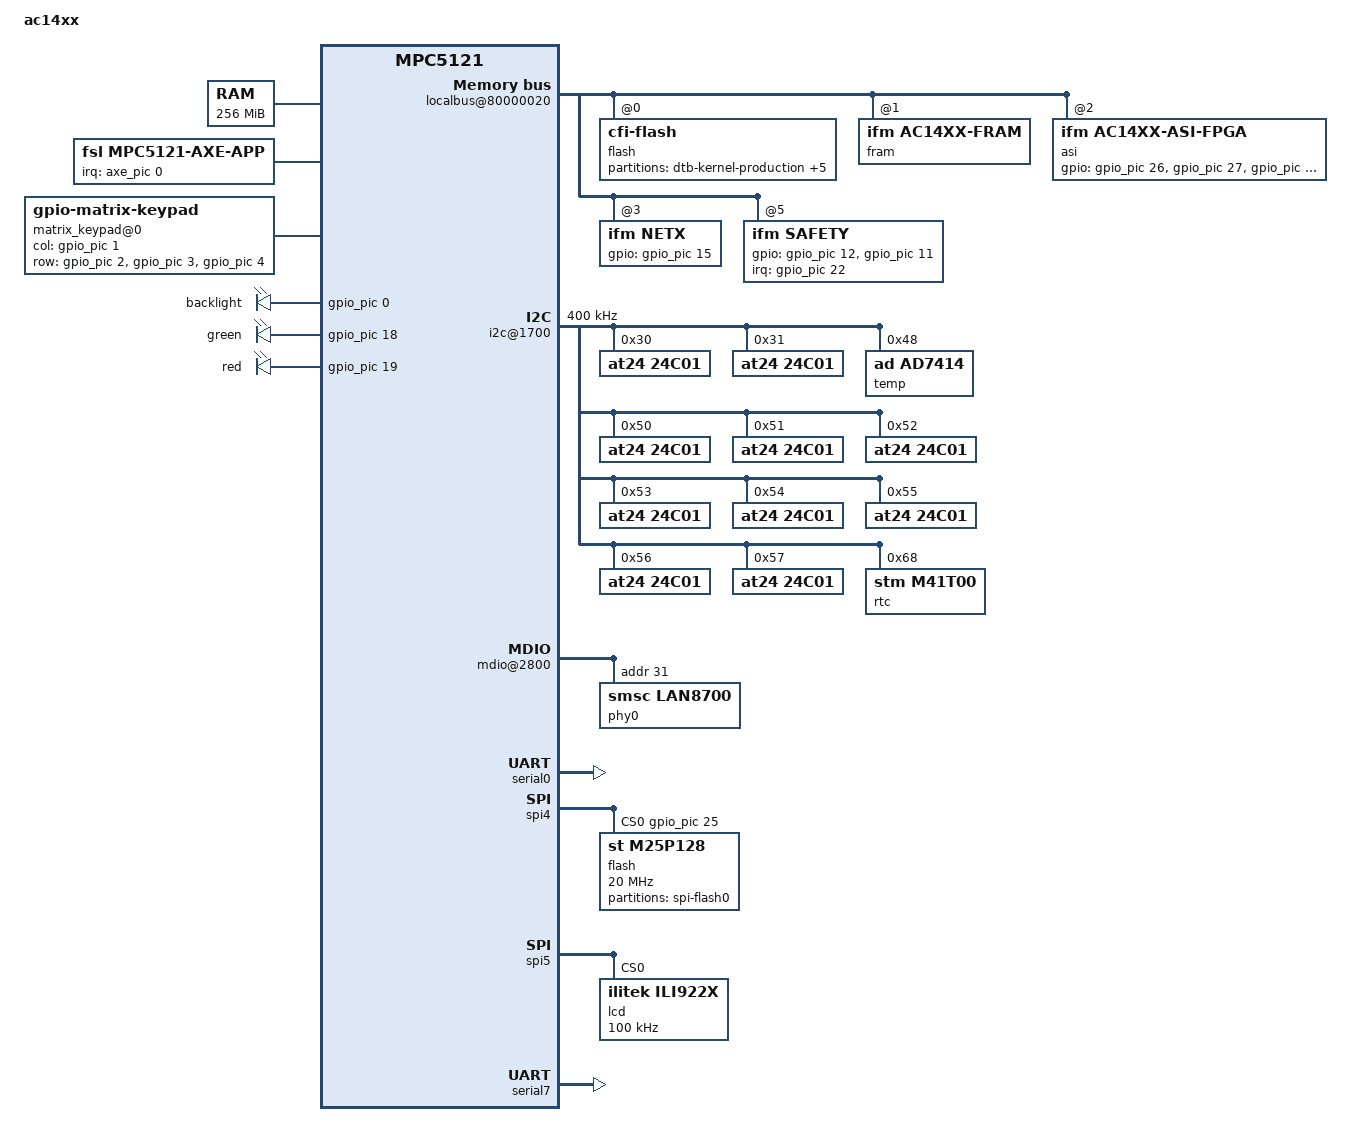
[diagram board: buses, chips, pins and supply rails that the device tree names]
/*
 * Device Tree Source for the MPC5121e based ac14xx board
 *
 * Copyright 2012 Anatolij Gustschin <agust@denx.de>
 *
 * This program is free software; you can redistribute  it and/or modify it
 * under  the terms of  the GNU General  Public License as published by the
 * Free Software Foundation;  either version 2 of the  License, or (at your
 * option) any later version.
 */


#include <mpc5121.dtsi>

/ {
	model = "ac14xx";
	compatible = "ifm,ac14xx", "fsl,mpc5121";
	#address-cells = <1>;
	#size-cells = <1>;

	aliases {
		serial0 = &serial0;
		serial1 = &serial7;
		spi4 = &spi4;
		spi5 = &spi5;
	};

	cpus {
		PowerPC,5121@0 {
			timebase-frequency = <40000000>;	/*  40 MHz (csb/4) */
			bus-frequency = <160000000>;		/* 160 MHz csb bus */
			clock-frequency = <400000000>;		/* 400 MHz ppc core */
		};
	};

	memory {
		reg = <0x00000000 0x10000000>;			/* 256MB at 0 */
	};

	nfc@40000000 {
		status = "disabled";
	};

	localbus@80000020 {
		ranges = <0x0 0x0 0xfc000000 0x04000000	/* CS0: NOR flash */
			  0x1 0x0 0xe0000000 0x00010000 /* CS1: FRAM */
			  0x2 0x0 0xe0100000 0x00080000 /* CS2: asi1 */
			  0x3 0x0 0xe0300000 0x00020000 /* CS3: comm */
			  0x5 0x0 0xe0400000 0x00010000 /* CS5: safety */
			  0x6 0x0 0xe0200000 0x00080000>; /* CS6: asi2 */

		flash@0,0 {
			compatible = "cfi-flash";
			reg = <0 0x00000000 0x04000000>;
			#address-cells = <1>;
			#size-cells = <1>;
			bank-width = <2>;
			device-width = <2>;

			partition@0 {
				label = "dtb-kernel-production";
				reg = <0x00000000 0x00400000>;
			};
			partition@1 {
				label = "filesystem-production";
				reg = <0x00400000 0x03400000>;
			};

			partition@2 {
				label = "recovery";
				reg = <0x03800000 0x00700000>;
			};

			partition@3 {
				label = "uboot-code";
				reg = <0x03f00000 0x00040000>;
			};
			partition@4 {
				label = "uboot-env1";
				reg = <0x03f40000 0x00020000>;
			};
			partition@5 {
				label = "uboot-env2";
				reg = <0x03f60000 0x00020000>;
			};
		};

		fram@1,0 {
			compatible = "ifm,ac14xx-fram", "linux,uio-pdrv-genirq";
			reg = <1 0x00000000 0x00010000>;
		};

		asi@2,0 {
			/* masters mapping: CS, CS offset, size */
			reg = <2 0x00000000 0x00080000
			       6 0x00000000 0x00080000>;
			#address-cells = <1>;
			#size-cells = <1>;
			compatible = "ifm,ac14xx-asi-fpga";
			gpios = <
				&gpio_pic 26 0	/* prog */
				&gpio_pic 27 0	/* done */
				&gpio_pic 10 0	/* reset */
				>;

			master@1 {
				interrupts = <20 0x2>;
				interrupt-parent = <&gpio_pic>;
				chipselect = <2 0x00009000 0x00009100>;
				label = "AS-i master 1";
			};

			master@2 {
				interrupts = <21 0x2>;
				interrupt-parent = <&gpio_pic>;
				chipselect = <6 0x00009000 0x00009100>;
				label = "AS-i master 2";
			};
		};

		netx@3,0 {
			compatible = "ifm,netx";
			reg = <0x3 0x00000000 0x00020000>;
			chipselect = <3 0x00101140 0x00203100>;
			interrupts = <17 0x8>;
			gpios = <&gpio_pic 15 0>;
		};

		safety@5,0 {
			compatible = "ifm,safety";
			reg = <0x5 0x00000000 0x00010000>;
			chipselect = <5 0x00009000 0x00009100>;
			interrupts = <22 0x2>;
			interrupt-parent = <&gpio_pic>;
			gpios = <
				&gpio_pic 12 0	/* prog */
				&gpio_pic 11 0	/* done */
				>;
		};
	};

	soc@80000000 {

		clock@f00 {
			compatible = "fsl,mpc5121rev2-clock", "fsl,mpc5121-clock";
		};

		/*
		 * GPIO PIC:
		 * interrupts cell = <pin nr, sense>
		 * sense == 8: Level, low assertion
		 * sense == 2: Edge, high-to-low change
		 */
		gpio_pic: gpio@1100 {
			gpio-controller;
			#gpio-cells = <2>;
			interrupt-controller;
			#interrupt-cells = <2>;
		};

		sdhc@1500 {
			cd-gpios = <&gpio_pic 23 0>;	/* card detect */
			wp-gpios = <&gpio_pic 24 0>;	/* write protect */
			wp-inverted;			/* WP active high */
		};

		i2c@1700 {
			/* use Fast-mode */
			clock-frequency = <400000>;

			at24@30 {
				compatible = "at24,24c01";
				reg = <0x30>;
			};

			at24@31 {
				compatible = "at24,24c01";
				reg = <0x31>;
			};

			temp@48 {
				compatible = "ad,ad7414";
				reg = <0x48>;
			};

			at24@50 {
				compatible = "at24,24c01";
				reg = <0x50>;
			};

			at24@51 {
				compatible = "at24,24c01";
				reg = <0x51>;
			};

			at24@52 {
				compatible = "at24,24c01";
				reg = <0x52>;
			};

			at24@53 {
				compatible = "at24,24c01";
				reg = <0x53>;
			};

			at24@54 {
				compatible = "at24,24c01";
				reg = <0x54>;
			};

			at24@55 {
				compatible = "at24,24c01";
				reg = <0x55>;
			};

			at24@56 {
				compatible = "at24,24c01";
				reg = <0x56>;
			};

			at24@57 {
				compatible = "at24,24c01";
				reg = <0x57>;
			};

			rtc@68 {
				compatible = "stm,m41t00";
				reg = <0x68>;
			};
		};

		axe_pic: axe-base@2000 {
			compatible = "fsl,mpc5121-axe-base";
			reg = <0x2000 0x100>;
			interrupts = <42 0x8>;
			interrupt-controller;
			#interrupt-cells = <2>;
		};

		axe-app {
			compatible = "fsl,mpc5121-axe-app";
			interrupt-parent = <&axe_pic>;
			interrupts = <
					/* soft interrupts */
					0 0x0	1 0x0	2 0x0	3 0x0
					4 0x0	5 0x0	6 0x0	7 0x0
					/* fifo interrupts */
					8 0x0	9 0x0	10 0x0	11 0x0
				>;
		};

		display@2100 {
			edid = [00 FF FF FF FF FF FF 00 14 94 00 00 00 00 00 00
				0A 12 01 03 80 1C 23 78 CA 88 FF 94 52 54 8E 27
				1E 4C 50 00 00 00 01 01 01 01 01 01 01 01 01 01
				01 01 01 01 01 01 FB 00 B0 14 00 DC 05 00 08 04
				21 00 1C 23 00 00 00 18 00 00 00 FD 00 38 3C 1F
				3C 01 0A 20 20 20 20 20 20 20 00 00 00 FC 00 45
				54 30 31 38 30 30 33 44 4D 55 0A 0A 00 00 00 10
				00 41 30 30 30 30 30 30 30 30 30 30 30 31 00 D5];
		};

		can@2300 {
			status = "disabled";
		};

		can@2380 {
			status = "disabled";
		};

		viu@2400 {
			status = "disabled";
		};

		mdio@2800 {
			phy0: ethernet-phy@1f {
				compatible = "smsc,lan8700";
				reg = <0x1f>;
			};
		};

		enet: ethernet@2800 {
			phy-handle = <&phy0>;
		};

		usb@3000 {
			status = "disabled";
		};

		usb@4000 {
			status = "disabled";
		};

		/* PSC3 serial port A, aka ttyPSC0 */
		serial0: psc@11300 {
			compatible = "fsl,mpc5121-psc-uart", "fsl,mpc5121-psc";
			fsl,rx-fifo-size = <512>;
			fsl,tx-fifo-size = <512>;
		};

		/* PSC4 in SPI mode */
		spi4: psc@11400 {
			compatible = "fsl,mpc5121-psc-spi", "fsl,mpc5121-psc";
			fsl,rx-fifo-size = <768>;
			fsl,tx-fifo-size = <768>;
			#address-cells = <1>;
			#size-cells = <0>;
			num-cs = <1>;
			cs-gpios = <&gpio_pic 25 0>;

			flash: m25p128@0 {
				compatible = "st,m25p128";
				spi-max-frequency = <20000000>;
				reg = <0>;
				#address-cells = <1>;
				#size-cells = <1>;

				partition@0 {
					label = "spi-flash0";
					reg = <0x00000000 0x01000000>;
				};
			};
		};

		/* PSC5 in SPI mode */
		spi5: psc@11500 {
			compatible = "fsl,mpc5121-psc-spi", "fsl,mpc5121-psc";
			fsl,mode = "spi-master";
			fsl,rx-fifo-size = <128>;
			fsl,tx-fifo-size = <128>;
			#address-cells = <1>;
			#size-cells = <0>;

			lcd@0 {
				compatible = "ilitek,ili922x";
				reg = <0>;
				spi-max-frequency = <100000>;
				spi-cpol;
				spi-cpha;
			};
		};

		/* PSC7 serial port C, aka ttyPSC2 */
		serial7: psc@11700 {
			compatible = "fsl,mpc5121-psc-uart", "fsl,mpc5121-psc";
			fsl,rx-fifo-size = <512>;
			fsl,tx-fifo-size = <512>;
		};

		matrix_keypad@0 {
			compatible = "gpio-matrix-keypad";
			debounce-delay-ms = <5>;
			col-scan-delay-us = <1>;
			gpio-activelow;
			col-gpios-binary;
			col-switch-delay-ms = <200>;

			col-gpios = <&gpio_pic 1 0>;	/* pin1 */

			row-gpios = <&gpio_pic 2 0	/* pin2 */
				     &gpio_pic 3 0	/* pin3 */
				     &gpio_pic 4 0>;	/* pin4 */

			linux,keymap = <0x0000006e	/* FN LEFT */
					0x01000067	/* UP */
					0x02000066	/* FN RIGHT */
					0x00010069	/* LEFT */
					0x0101006a	/* DOWN */
					0x0201006c>;	/* RIGHT */
		};
	};

	leds {
		compatible = "gpio-leds";

		backlight {
			label = "backlight";
			gpios = <&gpio_pic 0 0>;
			default-state = "keep";
		};
		green {
			label = "green";
			gpios = <&gpio_pic 18 0>;
			default-state = "keep";
		};
		red {
			label = "red";
			gpios = <&gpio_pic 19 0>;
			default-state = "keep";
		};
	};
};
